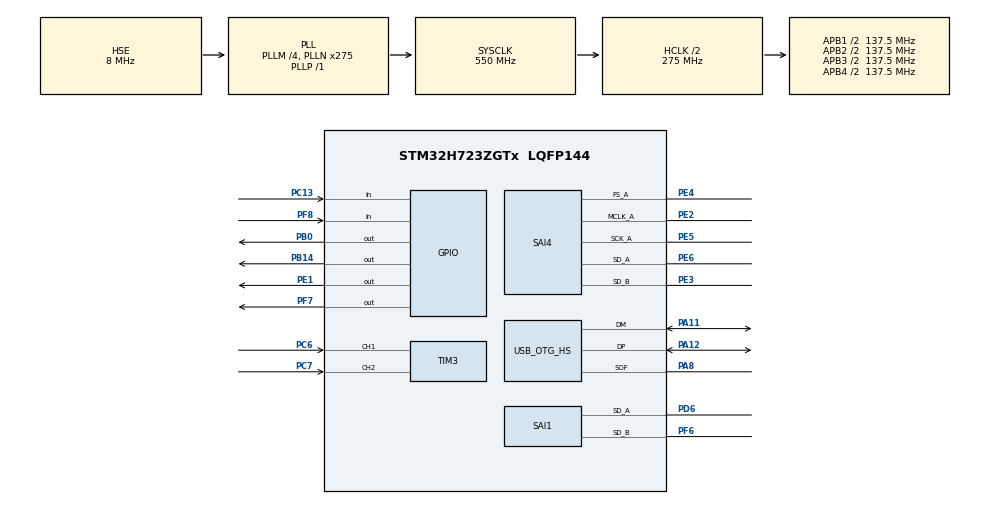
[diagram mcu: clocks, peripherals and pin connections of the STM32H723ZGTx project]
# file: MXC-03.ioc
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Bdma.Request0=SAI4_A
Bdma.Request1=SAI4_B
Bdma.RequestsNb=2
Bdma.SAI4_A.0.Direction=DMA_PERIPH_TO_MEMORY
Bdma.SAI4_A.0.EventEnable=DISABLE
Bdma.SAI4_A.0.Instance=BDMA_Channel0
Bdma.SAI4_A.0.MemDataAlignment=DMA_MDATAALIGN_WORD
Bdma.SAI4_A.0.MemInc=DMA_MINC_ENABLE
Bdma.SAI4_A.0.Mode=DMA_CIRCULAR
Bdma.SAI4_A.0.PeriphDataAlignment=DMA_PDATAALIGN_WORD
Bdma.SAI4_A.0.PeriphInc=DMA_PINC_DISABLE
Bdma.SAI4_A.0.Polarity=HAL_DMAMUX_REQ_GEN_RISING
Bdma.SAI4_A.0.Priority=DMA_PRIORITY_HIGH
Bdma.SAI4_A.0.RequestNumber=1
Bdma.SAI4_A.0.SignalID=NONE
Bdma.SAI4_A.0.SyncEnable=DISABLE
Bdma.SAI4_A.0.SyncPolarity=HAL_DMAMUX_SYNC_NO_EVENT
Bdma.SAI4_A.0.SyncRequestNumber=1
Bdma.SAI4_A.0.SyncSignalID=NONE
Bdma.SAI4_B.1.Direction=DMA_MEMORY_TO_PERIPH
Bdma.SAI4_B.1.EventEnable=DISABLE
Bdma.SAI4_B.1.Instance=BDMA_Channel1
Bdma.SAI4_B.1.MemDataAlignment=DMA_MDATAALIGN_WORD
Bdma.SAI4_B.1.MemInc=DMA_MINC_ENABLE
Bdma.SAI4_B.1.Mode=DMA_CIRCULAR
Bdma.SAI4_B.1.PeriphDataAlignment=DMA_PDATAALIGN_WORD
Bdma.SAI4_B.1.PeriphInc=DMA_PINC_DISABLE
Bdma.SAI4_B.1.Polarity=HAL_DMAMUX_REQ_GEN_RISING
Bdma.SAI4_B.1.Priority=DMA_PRIORITY_VERY_HIGH
Bdma.SAI4_B.1.RequestNumber=1
Bdma.SAI4_B.1.SignalID=NONE
Bdma.SAI4_B.1.SyncEnable=DISABLE
Bdma.SAI4_B.1.SyncPolarity=HAL_DMAMUX_SYNC_NO_EVENT
Bdma.SAI4_B.1.SyncRequestNumber=1
Bdma.SAI4_B.1.SyncSignalID=NONE
CORTEX_M7.AccessPermission_Spec=MPU_REGION_FULL_ACCESS
CORTEX_M7.BaseAddress_Spec=0x24000000
CORTEX_M7.DisableExec_Spec=MPU_INSTRUCTION_ACCESS_DISABLE
CORTEX_M7.IsShareable_Spec=MPU_ACCESS_SHAREABLE
CORTEX_M7.MPU_Control=MPU_PRIVILEGED_DEFAULT
CORTEX_M7.Size_Spec=MPU_REGION_SIZE_512KB
CORTEX_M7.SubRegionDisable_Spec=0x00
CORTEX_M7.TypeExtField_Spec=MPU_TEX_LEVEL1
CORTEX_M7.default_mode_Activation=0
Dma.Request0=SAI1_A
Dma.Request1=SAI1_B
Dma.SAI1_A.0.Direction=DMA_PERIPH_TO_MEMORY
Dma.SAI1_A.0.EventEnable=DISABLE
Dma.SAI1_A.0.FIFOMode=DMA_FIFOMODE_DISABLE
Dma.SAI1_A.0.Instance=DMA1_Stream0
Dma.SAI1_A.0.MemDataAlignment=DMA_MDATAALIGN_WORD
Dma.SAI1_A.0.MemInc=DMA_MINC_ENABLE
Dma.SAI1_A.0.Mode=DMA_CIRCULAR
Dma.SAI1_A.0.PeriphDataAlignment=DMA_PDATAALIGN_WORD
Dma.SAI1_A.0.PeriphInc=DMA_PINC_DISABLE
Dma.SAI1_A.0.Polarity=HAL_DMAMUX_REQ_GEN_RISING
Dma.SAI1_A.0.Priority=DMA_PRIORITY_VERY_HIGH
Dma.SAI1_A.0.RequestNumber=1
Dma.SAI1_A.0.SignalID=NONE
Dma.SAI1_A.0.SyncEnable=DISABLE
Dma.SAI1_A.0.SyncPolarity=HAL_DMAMUX_SYNC_NO_EVENT
Dma.SAI1_A.0.SyncRequestNumber=1
Dma.SAI1_A.0.SyncSignalID=NONE
Dma.SAI1_B.1.Direction=DMA_PERIPH_TO_MEMORY
Dma.SAI1_B.1.EventEnable=DISABLE
Dma.SAI1_B.1.FIFOMode=DMA_FIFOMODE_DISABLE
Dma.SAI1_B.1.Instance=DMA1_Stream1
Dma.SAI1_B.1.MemDataAlignment=DMA_MDATAALIGN_WORD
Dma.SAI1_B.1.MemInc=DMA_MINC_ENABLE
Dma.SAI1_B.1.Mode=DMA_CIRCULAR
Dma.SAI1_B.1.PeriphDataAlignment=DMA_PDATAALIGN_WORD
Dma.SAI1_B.1.PeriphInc=DMA_PINC_DISABLE
Dma.SAI1_B.1.Polarity=HAL_DMAMUX_REQ_GEN_RISING
Dma.SAI1_B.1.Priority=DMA_PRIORITY_VERY_HIGH
Dma.SAI1_B.1.RequestNumber=1
Dma.SAI1_B.1.SignalID=NONE
Dma.SAI1_B.1.SyncEnable=DISABLE
Dma.SAI1_B.1.SyncPolarity=HAL_DMAMUX_SYNC_NO_EVENT
Dma.SAI1_B.1.SyncRequestNumber=1
Dma.SAI1_B.1.SyncSignalID=NONE
Mcu.Family=STM32H7
Mcu.Name=STM32H723ZGTx
Mcu.Package=LQFP144
NUCLEO-H723ZG.BUTTON=1
NUCLEO-H723ZG.LD1=true
NUCLEO-H723ZG.LD2=true
NUCLEO-H723ZG.LD3=true
NUCLEO-H723ZG.VCP=true
NVIC.BDMA_Channel0_IRQn=true\:0\:0\:false\:false\:true\:false\:true\:true
NVIC.BDMA_Channel1_IRQn=true\:0\:0\:false\:false\:true\:false\:true\:true
NVIC.DMA1_Stream0_IRQn=true\:0\:0\:false\:false\:true\:false\:true\:true
NVIC.DMA1_Stream1_IRQn=true\:0\:0\:false\:false\:true\:false\:true\:true
NVIC.EXTI15_10_IRQn=true\:0\:0\:false\:false\:true\:false\:true\:true
NVIC.OTG_HS_EP1_IN_IRQn=true\:0\:0\:false\:false\:true\:true\:true\:true
NVIC.OTG_HS_EP1_OUT_IRQn=true\:0\:0\:false\:false\:true\:true\:true\:true
NVIC.OTG_HS_IRQn=true\:0\:0\:false\:false\:true\:true\:true\:true
NVIC.PriorityGroup=NVIC_PRIORITYGROUP_4
NVIC.SAI4_IRQn=true\:0\:0\:false\:false\:true\:true\:true\:true
PA11.Mode=Device_Only_FS
PA11.Signal=USB_OTG_HS_DM
PA12.Mode=Device_Only_FS
PA12.Signal=USB_OTG_HS_DP
PA13(JTMS/SWDIO).GPIO_Label=SWDIO
PA13(JTMS/SWDIO).Signal=DEBUG_JTMS-SWDIO
PA14(JTCK/SWCLK).GPIO_Label=SWCLK
PA14(JTCK/SWCLK).Signal=DEBUG_JTCK-SWCLK
PA8.Mode=Activate_SOF_FS
PA8.Signal=USB_OTG_HS_SOF
PB0.Signal=GPIO_Output
PB14.Signal=GPIO_Output
PC13.Signal=GPIO_Input
PC14-OSC32_IN.Signal=RCC_OSC32_IN
PC15-OSC32_OUT.Signal=RCC_OSC32_OUT
PC6.GPIO_PuPd=GPIO_PULLUP
PC6.Signal=S_TIM3_CH1
PC7.GPIO_PuPd=GPIO_PULLUP
PC7.Signal=S_TIM3_CH2
PD6.Mode=SAI_A_SyncSlave
PD6.Signal=SAI1_SD_A
PD8.Signal=USART3_TX
PD9.Signal=USART3_RX
PE1.Signal=GPIO_Output
PE2.Mode=SAI_A_MasterWithClock
PE2.Signal=SAI4_MCLK_A
PE3.Mode=SAI_B_SyncSlave
PE3.Signal=SAI4_SD_B
PE4.Mode=SAI_A_MasterWithClock
PE4.Signal=SAI4_FS_A
PE5.Mode=SAI_A_MasterWithClock
PE5.Signal=SAI4_SCK_A
PE6.Mode=SAI_A_MasterWithClock
PE6.Signal=SAI4_SD_A
PF6.Mode=SAI_B_SyncSlave
PF6.Signal=SAI1_SD_B
PF7.Signal=GPIO_Output
PF8.GPIO_PuPd=GPIO_PULLDOWN
PF8.Signal=GPIO_Input
PH0-OSC_IN.Mode=HSE-External-Clock-Source
PH0-OSC_IN.Signal=RCC_OSC_IN
ProjectManager.HeapSize=0x200
ProjectManager.StackSize=0x400
ProjectManager.TargetToolchain=STM32CubeIDE
RCC.ADCFreq_Value=76000000
RCC.APB1Freq_Value=137500000
RCC.APB2Freq_Value=137500000
RCC.APB3Freq_Value=137500000
RCC.APB4Freq_Value=137500000
RCC.CortexFreq_Value=550000000
RCC.D1PPRE=RCC_APB3_DIV2
RCC.D2PPRE1=RCC_APB1_DIV2
RCC.D2PPRE2=RCC_APB2_DIV2
RCC.D3PPRE=RCC_APB4_DIV2
RCC.DIVM1=4
RCC.DIVM2=1
RCC.DIVM3=5
RCC.DIVN1=275
RCC.DIVN2=19
RCC.DIVN3=192
RCC.DIVP1=1
RCC.DIVP3=25
RCC.DIVQ1=4
RCC.HCLKFreq_Value=275000000
RCC.HPRE=RCC_HCLK_DIV2
RCC.HSE_VALUE=8000000
RCC.PLLFRACN=0
RCC.PLLSourceVirtual=RCC_PLLSOURCE_HSE
RCC.SAI1CLockSelection=RCC_SAI1CLKSOURCE_PLL3
RCC.SAI4ACLockSelection=RCC_SAI4ACLKSOURCE_PLL3
RCC.SAI4BCLockSelection=RCC_SAI4BCLKSOURCE_PLL3
RCC.SYSCLKFreq_VALUE=550000000
RCC.SYSCLKSource=RCC_SYSCLKSOURCE_PLLCLK
RCC.USBCLockSelection=RCC_USBCLKSOURCE_HSI48
RCC.USBFreq_Value=48000000
SAI1.BasicDataSize-SAI_A_SyncSlave=SAI_PROTOCOL_DATASIZE_32BIT
SAI1.BasicDataSize-SAI_B_SyncSlave=SAI_PROTOCOL_DATASIZE_32BIT
SAI1.InitProtocol-SAI_A_SyncSlave=Enable
SAI1.InitProtocol-SAI_B_SyncSlave=Enable
SAI1.Instance-SAI_A_SyncSlave=SAI$Index_Block_A
SAI1.Instance-SAI_B_SyncSlave=SAI$Index_Block_B
SAI1.Synchro_A=SAI_SYNCHRONOUS_EXT_SAI4
SAI1.Synchro_B=SAI_SYNCHRONOUS_EXT_SAI4
SAI1.VirtualMode-SAI_A_SyncSlave=VM_SLAVE
SAI1.VirtualMode-SAI_B_SyncSlave=VM_SLAVE
SAI1.VirtualProtocol-SAI_A_BASIC=VM_BASIC_PROTOCOL
SAI1.VirtualProtocol-SAI_B_BASIC=VM_BASIC_PROTOCOL
SAI4.AudioFrequency-SAI_A_MasterWithClock=SAI_AUDIO_FREQUENCY_48K
SAI4.AudioMode-SAI_A_MasterWithClock=SAI_MODEMASTER_RX
SAI4.AudioMode-SAI_B_SyncSlave=SAI_MODESLAVE_TX
SAI4.BasicDataSize-SAI_A_MasterWithClock=SAI_PROTOCOL_DATASIZE_32BIT
SAI4.BasicDataSize-SAI_B_SyncSlave=SAI_PROTOCOL_DATASIZE_32BIT
SAI4.ErrorAudioFreq-SAI_A_MasterWithClock=0.0 %
SAI4.InitProtocol-SAI_A_MasterWithClock=Enable
SAI4.InitProtocol-SAI_B_SyncSlave=Enable
SAI4.Instance-SAI_A_MasterWithClock=SAI$Index_Block_A
SAI4.Instance-SAI_B_SyncSlave=SAI$Index_Block_B
SAI4.MckOutput-SAI_A_MasterWithClock=SAI_MCK_OUTPUT_ENABLE
SAI4.RealAudioFreq-SAI_A_MasterWithClock=48.0 KHz
SAI4.VirtualMode-SAI_A_MasterWithClock=VM_MASTER
SAI4.VirtualMode-SAI_B_SyncSlave=VM_SLAVE
SAI4.VirtualProtocol-SAI_A_BASIC=VM_BASIC_PROTOCOL
SAI4.VirtualProtocol-SAI_B_BASIC=VM_BASIC_PROTOCOL
SH.S_TIM3_CH1.0=TIM3_CH1,Encoder_Interface
SH.S_TIM3_CH2.0=TIM3_CH2,Encoder_Interface
TIM3.EncoderMode=TIM_ENCODERMODE_TI12
TIM3.IC1Filter=10
TIM3.IC2Filter=10
TIM3.TIM_MasterSlaveMode=TIM_MASTERSLAVEMODE_DISABLE
USB_DEVICE.CLASS_NAME_HS=AUDIO
USB_DEVICE.USBD_AUDIO_FREQ=48000
USB_DEVICE.VirtualMode=Audio
USB_DEVICE.VirtualModeHS=Audio_HS
USB_OTG_HS.VirtualMode-Device_Only_FS=Device_Only_FS
USB_OTG_HS.dma_enable-Device_Only_FS=DISABLE
VP_MEMORYMAP_VS_MEMORYMAP.Mode=CurAppReg
VP_NUCLEO-H723ZG_VS_BSP_COMMON.Mode=COMMON
VP_SAI1_VP_$IpInstance_SAIA_SAI_BASIC.Mode=SAI_A_BASIC
VP_SAI1_VP_$IpInstance_SAIB_SAI_BASIC.Mode=SAI_B_BASIC
VP_SAI4_VP_$IpInstance_SAIA_SAI_BASIC.Mode=SAI_A_BASIC
VP_SAI4_VP_$IpInstance_SAIB_SAI_BASIC.Mode=SAI_B_BASIC
VP_USB_DEVICE_VS_USB_DEVICE_AUDIO_HS.Mode=AUDIO_HS
board=NUCLEO-H723ZG

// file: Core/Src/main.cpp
/* USER CODE BEGIN Header */
/**
 ******************************************************************************
 * @file           : main.cpp
 * @brief          : Main program body
 ******************************************************************************
 * @attention
 *
 * Copyright (c) 2026 STMicroelectronics.
 * All rights reserved.
 *
 * This software is licensed under terms that can be found in the LICENSE file
 * in the root directory of this software component.
 * If no LICENSE file comes with this software, it is provided AS-IS.
 *
 ******************************************************************************
 */
/* USER CODE END Header */
#include "main.h"
#include "usb_device.h"

/* USER CODE BEGIN Includes */
#include "audio_system.hpp"
#include "effects_chain.hpp"
#include "ui_controller.hpp"
#include "ui_input_manager.hpp"

/* USER CODE END Includes */

/* USER CODE BEGIN PD */
namespace LinkSync {
constexpr uint16_t DummyPatternWord{0x96A5};
constexpr uint32_t StableBlocksRequired{8};
constexpr uint32_t LockCheckWords{32};
constexpr uint32_t FrontUsbFadeInFrames{AudioConfig::SampleRate / 50U};
}

/* USER CODE END PD */

COM_InitTypeDef BspCOMInit;

SAI_HandleTypeDef hsai_BlockA1;
SAI_HandleTypeDef hsai_BlockB1;
SAI_HandleTypeDef hsai_BlockA4;
SAI_HandleTypeDef hsai_BlockB4;
DMA_HandleTypeDef hdma_sai1_a;
DMA_HandleTypeDef hdma_sai1_b;
DMA_HandleTypeDef hdma_sai4_a;
DMA_HandleTypeDef hdma_sai4_b;

TIM_HandleTypeDef htim3;

/* USER CODE BEGIN PV */
extern UART_HandleTypeDef hcom_uart[];
volatile uint32_t gFrontUsbStableBlocks{0};
volatile uint32_t gFrontUsbLockAcquired{0};
volatile uint32_t gF411ReadyWasAsserted{0};
volatile uint32_t gFrontUsbFadeFrameIndex{0};
volatile uint32_t gFrontUsbFadeActive{0};
/* USER CODE END PV */

void SystemClock_Config(void);
void PeriphCommonClock_Config(void);
static void MPU_Config(void);
static void MX_GPIO_Init(void);
static void MX_DMA_Init(void);
static void MX_BDMA_Init(void);
static void MX_TIM3_Init(void);
static void MX_SAI1_Init(void);
static void MX_SAI4_Init(void);

/* USER CODE BEGIN 0 */
static void setH723Ready(bool active) {
  HAL_GPIO_WritePin(H723_READY_OUT_GPIO_Port, H723_READY_OUT_Pin,
                    active ? GPIO_PIN_SET : GPIO_PIN_RESET);
}

static bool isF411ReadyAsserted() {
  return HAL_GPIO_ReadPin(F411_READY_IN_GPIO_Port, F411_READY_IN_Pin) ==
         GPIO_PIN_SET;
}

static void clearFrontUsbLockState() {
  gFrontUsbStableBlocks = 0;
  gFrontUsbLockAcquired = 0;
  gFrontUsbFadeFrameIndex = 0;
  gFrontUsbFadeActive = 0;
  setH723Ready(false);
}

static void clearFrontUsbRxBuffer() {
  std::fill(frontUSBRxBuffer.begin(), frontUSBRxBuffer.end(), 0);
}

static bool isDummyPatternStable(uint32_t start) {
  const uint32_t maxWords = AudioConfig::DMABufferSize - start;
  const uint32_t wordsToCheck =
      (LinkSync::LockCheckWords < maxWords) ? LinkSync::LockCheckWords
                                            : maxWords;

  for (uint32_t i = 0; i < wordsToCheck; ++i) {
    const uint16_t sample =
        static_cast<uint16_t>(frontUSBRxBuffer[start + i] & 0xFFFF);
    if (sample != LinkSync::DummyPatternWord) {
      return false;
    }
  }

  return true;
}

static void analyzeFrontUsbBlock(uint32_t start) {
  if (!isF411ReadyAsserted()) {
    clearFrontUsbLockState();
    return;
  }

  const bool isStableBlock = isDummyPatternStable(start);

  if (isStableBlock) {
    if (gFrontUsbStableBlocks < LinkSync::StableBlocksRequired) {
      ++gFrontUsbStableBlocks;
    }
  } else {
    gFrontUsbStableBlocks = 0;
  }

  if (gFrontUsbStableBlocks >= LinkSync::StableBlocksRequired) {
    if (gFrontUsbLockAcquired == 0U) {
      gFrontUsbFadeFrameIndex = 0;
      gFrontUsbFadeActive = 1;
      gFrontUsbLockAcquired = 1;
      setH723Ready(true);
    }
  }
}

/* USER CODE END 0 */

int main(void)
{

  /* USER CODE BEGIN 1 */
  // Initialize effects chain
  FX::initializeChain();

  // Initialize UI
  UI::initialize();
  /* USER CODE END 1 */

  /* MPU Configuration--------------------------------------------------------*/
  MPU_Config();

  /* MCU Configuration--------------------------------------------------------*/

  /* Reset of all peripherals, Initializes the Flash interface and the Systick. */
  HAL_Init();

  /* Configure the system clock */
  SystemClock_Config();

  /* Configure the peripherals common clocks */
  PeriphCommonClock_Config();

  /* Initialize all configured peripherals */
  MX_GPIO_Init();
  MX_DMA_Init();
  MX_BDMA_Init();
  MX_TIM3_Init();
  MX_USB_DEVICE_Init();
  MX_SAI1_Init();
  MX_SAI4_Init();
  /* USER CODE BEGIN 2 */
  auto *pMonitorTx{reinterpret_cast<uint8_t *>(monitorTxBuffer.data())};
  auto *pADCRx{reinterpret_cast<uint8_t *>(ADCRxBuffer.data())};
  auto *pFrontUSBRx{reinterpret_cast<uint8_t *>(frontUSBRxBuffer.data())};
  auto *pRearUSBRx{reinterpret_cast<uint8_t *>(rearUSBRxBuffer.data())};

  setH723Ready(false);

  // Arm SAI1 RX first so H723 is ready to capture immediately when F411 starts.
  if (HAL_SAI_Receive_DMA(&hsai_BlockA1, pFrontUSBRx,
                          AudioConfig::DMABufferSize) != HAL_OK) {
    Error_Handler();
  }
  if (HAL_SAI_Receive_DMA(&hsai_BlockB1, pRearUSBRx,
                          AudioConfig::DMABufferSize) != HAL_OK) {
    Error_Handler();
  }

  // Start SAI4 path immediately so H723 can run standalone.
  if (HAL_SAI_Transmit_DMA(&hsai_BlockB4, pMonitorTx,
                           AudioConfig::DMABufferSize) != HAL_OK) {
    Error_Handler();
  }
  if (HAL_SAI_Receive_DMA(&hsai_BlockA4, pADCRx, AudioConfig::DMABufferSize) !=
      HAL_OK) {
    Error_Handler();
  }
  if (HAL_TIM_Encoder_Start(&htim3, TIM_CHANNEL_ALL) != HAL_OK) {
    Error_Handler();
  }

  UI::render();
  /* USER CODE END 2 */

  /* Initialize leds */
  BSP_LED_Init(LED_GREEN);
  BSP_LED_Init(LED_YELLOW);
  BSP_LED_Init(LED_RED);

  /* Initialize USER push-button, will be used to trigger an interrupt each time it's pressed.*/
  BSP_PB_Init(BUTTON_USER, BUTTON_MODE_EXTI);

  /* Initialize COM1 port (115200, 8 bits (7-bit data + 1 stop bit), no parity */
  BspCOMInit.BaudRate   = 115200;
  BspCOMInit.WordLength = COM_WORDLENGTH_8B;
  BspCOMInit.StopBits   = COM_STOPBITS_1;
  BspCOMInit.Parity     = COM_PARITY_NONE;
  BspCOMInit.HwFlowCtl  = COM_HWCONTROL_NONE;
  if (BSP_COM_Init(COM1, &BspCOMInit) != BSP_ERROR_NONE)
  {
    Error_Handler();
  }

  /* Infinite loop */
  /* USER CODE BEGIN WHILE */
  HAL_NVIC_SetPriority(USART3_IRQn, 0, 0);
  HAL_NVIC_EnableIRQ(USART3_IRQn);
  UiInput::initialize(htim3, hcom_uart[COM1]);
  gF411ReadyWasAsserted = isF411ReadyAsserted() ? 1U : 0U;

  while (1) {
    const bool isReadyNow = isF411ReadyAsserted();
    if (!isReadyNow) {
      if (gF411ReadyWasAsserted != 0U) {
        clearFrontUsbRxBuffer();
      }

      if (gFrontUsbLockAcquired != 0U || gFrontUsbStableBlocks != 0U) {
        clearFrontUsbLockState();
      }
    }
    gF411ReadyWasAsserted = isReadyNow ? 1U : 0U;

    UiInput::processLoop();
    /* USER CODE END WHILE */

  }
}

void SystemClock_Config(void)
{
  RCC_OscInitTypeDef RCC_OscInitStruct = {0};
  RCC_ClkInitTypeDef RCC_ClkInitStruct = {0};

  /** Supply configuration update enable
  */
  HAL_PWREx_ConfigSupply(PWR_LDO_SUPPLY);

  /** Configure the main internal regulator output voltage
  */
  __HAL_PWR_VOLTAGESCALING_CONFIG(PWR_REGULATOR_VOLTAGE_SCALE0);

  while(!__HAL_PWR_GET_FLAG(PWR_FLAG_VOSRDY)) {}

  /** Initializes the RCC Oscillators according to the specified parameters
  * in the RCC_OscInitTypeDef structure.
  */
  RCC_OscInitStruct.OscillatorType = RCC_OSCILLATORTYPE_HSI48|RCC_OSCILLATORTYPE_HSE;
  RCC_OscInitStruct.HSEState = RCC_HSE_BYPASS;
  RCC_OscInitStruct.HSI48State = RCC_HSI48_ON;
  RCC_OscInitStruct.PLL.PLLState = RCC_PLL_ON;
  RCC_OscInitStruct.PLL.PLLSource = RCC_PLLSOURCE_HSE;
  RCC_OscInitStruct.PLL.PLLM = 4;
  RCC_OscInitStruct.PLL.PLLN = 275;
  RCC_OscInitStruct.PLL.PLLP = 1;
  RCC_OscInitStruct.PLL.PLLQ = 4;
  RCC_OscInitStruct.PLL.PLLR = 2;
  RCC_OscInitStruct.PLL.PLLRGE = RCC_PLL1VCIRANGE_1;
  RCC_OscInitStruct.PLL.PLLVCOSEL = RCC_PLL1VCOWIDE;
  RCC_OscInitStruct.PLL.PLLFRACN = 0;
  if (HAL_RCC_OscConfig(&RCC_OscInitStruct) != HAL_OK)
  {
    Error_Handler();
  }

  /** Initializes the CPU, AHB and APB buses clocks
  */
  RCC_ClkInitStruct.ClockType = RCC_CLOCKTYPE_HCLK|RCC_CLOCKTYPE_SYSCLK
                              |RCC_CLOCKTYPE_PCLK1|RCC_CLOCKTYPE_PCLK2
                              |RCC_CLOCKTYPE_D3PCLK1|RCC_CLOCKTYPE_D1PCLK1;
  RCC_ClkInitStruct.SYSCLKSource = RCC_SYSCLKSOURCE_PLLCLK;
  RCC_ClkInitStruct.SYSCLKDivider = RCC_SYSCLK_DIV1;
  RCC_ClkInitStruct.AHBCLKDivider = RCC_HCLK_DIV2;
  RCC_ClkInitStruct.APB3CLKDivider = RCC_APB3_DIV2;
  RCC_ClkInitStruct.APB1CLKDivider = RCC_APB1_DIV2;
  RCC_ClkInitStruct.APB2CLKDivider = RCC_APB2_DIV2;
  RCC_ClkInitStruct.APB4CLKDivider = RCC_APB4_DIV2;

  if (HAL_RCC_ClockConfig(&RCC_ClkInitStruct, FLASH_LATENCY_3) != HAL_OK)
  {
    Error_Handler();
  }
}

void PeriphCommonClock_Config(void)
{
  RCC_PeriphCLKInitTypeDef PeriphClkInitStruct = {0};

  /** Initializes the peripherals clock
  */
  PeriphClkInitStruct.PeriphClockSelection = RCC_PERIPHCLK_SAI4A|RCC_PERIPHCLK_SAI4B
                              |RCC_PERIPHCLK_SAI1;
  PeriphClkInitStruct.PLL3.PLL3M = 5;
  PeriphClkInitStruct.PLL3.PLL3N = 192;
  PeriphClkInitStruct.PLL3.PLL3P = 25;
  PeriphClkInitStruct.PLL3.PLL3Q = 2;
  PeriphClkInitStruct.PLL3.PLL3R = 2;
  PeriphClkInitStruct.PLL3.PLL3RGE = RCC_PLL3VCIRANGE_0;
  PeriphClkInitStruct.PLL3.PLL3VCOSEL = RCC_PLL3VCOMEDIUM;
  PeriphClkInitStruct.PLL3.PLL3FRACN = 0;
  PeriphClkInitStruct.Sai1ClockSelection = RCC_SAI1CLKSOURCE_PLL3;
  PeriphClkInitStruct.Sai4AClockSelection = RCC_SAI4ACLKSOURCE_PLL3;
  PeriphClkInitStruct.Sai4BClockSelection = RCC_SAI4BCLKSOURCE_PLL3;
  if (HAL_RCCEx_PeriphCLKConfig(&PeriphClkInitStruct) != HAL_OK)
  {
    Error_Handler();
  }
}

static void MX_SAI1_Init(void)
{

  hsai_BlockA1.Instance = SAI1_Block_A;
  hsai_BlockA1.Init.AudioMode = SAI_MODESLAVE_RX;
  hsai_BlockA1.Init.Synchro = SAI_SYNCHRONOUS_EXT_SAI4;
  hsai_BlockA1.Init.OutputDrive = SAI_OUTPUTDRIVE_DISABLE;
  hsai_BlockA1.Init.FIFOThreshold = SAI_FIFOTHRESHOLD_EMPTY;
  hsai_BlockA1.Init.MonoStereoMode = SAI_STEREOMODE;
  hsai_BlockA1.Init.CompandingMode = SAI_NOCOMPANDING;
  hsai_BlockA1.Init.TriState = SAI_OUTPUT_NOTRELEASED;
  if (HAL_SAI_InitProtocol(&hsai_BlockA1, SAI_I2S_STANDARD,
                           SAI_PROTOCOL_DATASIZE_16BITEXTENDED, 2) != HAL_OK) {
    Error_Handler();
  }
  hsai_BlockB1.Instance = SAI1_Block_B;
  hsai_BlockB1.Init.AudioMode = SAI_MODESLAVE_RX;
  hsai_BlockB1.Init.Synchro = SAI_SYNCHRONOUS_EXT_SAI4;
  hsai_BlockB1.Init.OutputDrive = SAI_OUTPUTDRIVE_DISABLE;
  hsai_BlockB1.Init.FIFOThreshold = SAI_FIFOTHRESHOLD_EMPTY;
  hsai_BlockB1.Init.MonoStereoMode = SAI_STEREOMODE;
  hsai_BlockB1.Init.CompandingMode = SAI_NOCOMPANDING;
  hsai_BlockB1.Init.TriState = SAI_OUTPUT_NOTRELEASED;
  if (HAL_SAI_InitProtocol(&hsai_BlockB1, SAI_I2S_STANDARD,
                           SAI_PROTOCOL_DATASIZE_16BITEXTENDED, 2) != HAL_OK) {
    Error_Handler();
  }

}

static void MX_SAI4_Init(void)
{

  hsai_BlockA4.Instance = SAI4_Block_A;
  hsai_BlockA4.Init.AudioMode = SAI_MODEMASTER_RX;
  hsai_BlockA4.Init.Synchro = SAI_ASYNCHRONOUS;
  hsai_BlockA4.Init.OutputDrive = SAI_OUTPUTDRIVE_DISABLE;
  hsai_BlockA4.Init.NoDivider = SAI_MASTERDIVIDER_ENABLE;
  hsai_BlockA4.Init.FIFOThreshold = SAI_FIFOTHRESHOLD_EMPTY;
  hsai_BlockA4.Init.AudioFrequency = SAI_AUDIO_FREQUENCY_48K;
  hsai_BlockA4.Init.SynchroExt = SAI_SYNCEXT_OUTBLOCKA_ENABLE;
  hsai_BlockA4.Init.MonoStereoMode = SAI_STEREOMODE;
  hsai_BlockA4.Init.CompandingMode = SAI_NOCOMPANDING;
  if (HAL_SAI_InitProtocol(&hsai_BlockA4, SAI_I2S_STANDARD,
                           SAI_PROTOCOL_DATASIZE_32BIT, 2) != HAL_OK) {
    Error_Handler();
  }
  hsai_BlockB4.Instance = SAI4_Block_B;
  hsai_BlockB4.Init.AudioMode = SAI_MODESLAVE_TX;
  hsai_BlockB4.Init.Synchro = SAI_SYNCHRONOUS;
  hsai_BlockB4.Init.OutputDrive = SAI_OUTPUTDRIVE_DISABLE;
  hsai_BlockB4.Init.FIFOThreshold = SAI_FIFOTHRESHOLD_EMPTY;
  hsai_BlockB4.Init.SynchroExt = SAI_SYNCEXT_OUTBLOCKA_ENABLE;
  hsai_BlockB4.Init.MonoStereoMode = SAI_STEREOMODE;
  hsai_BlockB4.Init.CompandingMode = SAI_NOCOMPANDING;
  hsai_BlockB4.Init.TriState = SAI_OUTPUT_NOTRELEASED;
  if (HAL_SAI_InitProtocol(&hsai_BlockB4, SAI_I2S_STANDARD,
                           SAI_PROTOCOL_DATASIZE_32BIT, 2) != HAL_OK) {
    Error_Handler();
  }

}

static void MX_TIM3_Init(void)
{

  TIM_Encoder_InitTypeDef sConfig = {0};
  TIM_MasterConfigTypeDef sMasterConfig = {0};

  htim3.Instance = TIM3;
  htim3.Init.Prescaler = 0;
  htim3.Init.CounterMode = TIM_COUNTERMODE_UP;
  htim3.Init.Period = 65535;
  htim3.Init.ClockDivision = TIM_CLOCKDIVISION_DIV1;
  htim3.Init.AutoReloadPreload = TIM_AUTORELOAD_PRELOAD_DISABLE;
  sConfig.EncoderMode = TIM_ENCODERMODE_TI12;
  sConfig.IC1Polarity = TIM_ICPOLARITY_RISING;
  sConfig.IC1Selection = TIM_ICSELECTION_DIRECTTI;
  sConfig.IC1Prescaler = TIM_ICPSC_DIV1;
  sConfig.IC1Filter = 10;
  sConfig.IC2Polarity = TIM_ICPOLARITY_RISING;
  sConfig.IC2Selection = TIM_ICSELECTION_DIRECTTI;
  sConfig.IC2Prescaler = TIM_ICPSC_DIV1;
  sConfig.IC2Filter = 10;
  if (HAL_TIM_Encoder_Init(&htim3, &sConfig) != HAL_OK)
  {
    Error_Handler();
  }
  sMasterConfig.MasterOutputTrigger = TIM_TRGO_RESET;
  sMasterConfig.MasterSlaveMode = TIM_MASTERSLAVEMODE_DISABLE;
  if (HAL_TIMEx_MasterConfigSynchronization(&htim3, &sMasterConfig) != HAL_OK)
  {
    Error_Handler();
  }

}

static void MX_BDMA_Init(void)
{

  /* DMA controller clock enable */
  __HAL_RCC_BDMA_CLK_ENABLE();

  /* DMA interrupt init */
  /* BDMA_Channel0_IRQn interrupt configuration */
  HAL_NVIC_SetPriority(BDMA_Channel0_IRQn, 0, 0);
  HAL_NVIC_EnableIRQ(BDMA_Channel0_IRQn);
  /* BDMA_Channel1_IRQn interrupt configuration */
  HAL_NVIC_SetPriority(BDMA_Channel1_IRQn, 0, 0);
  HAL_NVIC_EnableIRQ(BDMA_Channel1_IRQn);

}

static void MX_DMA_Init(void)
{

  /* DMA controller clock enable */
  __HAL_RCC_DMA1_CLK_ENABLE();

  /* DMA interrupt init */
  /* DMA1_Stream0_IRQn interrupt configuration */
  HAL_NVIC_SetPriority(DMA1_Stream0_IRQn, 0, 0);
  HAL_NVIC_EnableIRQ(DMA1_Stream0_IRQn);
  /* DMA1_Stream1_IRQn interrupt configuration */
  HAL_NVIC_SetPriority(DMA1_Stream1_IRQn, 0, 0);
  HAL_NVIC_EnableIRQ(DMA1_Stream1_IRQn);

}

static void MX_GPIO_Init(void)
{
  GPIO_InitTypeDef GPIO_InitStruct = {0};

  /* GPIO Ports Clock Enable */
  __HAL_RCC_GPIOE_CLK_ENABLE();
  __HAL_RCC_GPIOC_CLK_ENABLE();
  __HAL_RCC_GPIOF_CLK_ENABLE();
  __HAL_RCC_GPIOH_CLK_ENABLE();
  __HAL_RCC_GPIOA_CLK_ENABLE();
  __HAL_RCC_GPIOD_CLK_ENABLE();

  /*Configure GPIO pin Output Level */
  HAL_GPIO_WritePin(GPIOF, GPIO_PIN_7, GPIO_PIN_RESET);

  /*Configure GPIO pin : PF7 */
  GPIO_InitStruct.Pin = GPIO_PIN_7;
  GPIO_InitStruct.Mode = GPIO_MODE_OUTPUT_PP;
  GPIO_InitStruct.Pull = GPIO_NOPULL;
  GPIO_InitStruct.Speed = GPIO_SPEED_FREQ_LOW;
  HAL_GPIO_Init(GPIOF, &GPIO_InitStruct);

  /*Configure GPIO pin : PF8 */
  GPIO_InitStruct.Pin = GPIO_PIN_8;
  GPIO_InitStruct.Mode = GPIO_MODE_INPUT;
  GPIO_InitStruct.Pull = GPIO_PULLDOWN;
  HAL_GPIO_Init(GPIOF, &GPIO_InitStruct);

}

/* USER CODE BEGIN 4 */

// --- Hardware / HAL Callbacks (C Linkage) ---
// These functions must use C linkage to be visible to the STM32 HAL drivers.
extern "C" {
void mainUSBRxBufferReset() { mainUSBRxBuffer.reset(); }
void mainUSBRxBufferWrite(int16_t *data, uint32_t length) {
  mainUSBRxBuffer.write(data, length);
}
int32_t mainUSBRxBufferGetAvailableFrames(void) {
  return (int32_t)mainUSBRxBuffer.getAvailableFrames();
}

static void processADCMonoLeftChannelInput(uint32_t start,
                                                  uint32_t numFrames) {
  for (uint32_t i = start, j = 0; j < numFrames; ++j, i += 2) {
    float32_t leftSample{static_cast<float32_t>(ADCRxBuffer[i]) *
                         Audio::Convert::Int32ToFloat};
    Mixer::chLeft[j] = leftSample * Mixer::param.gainADCLeft;
    Mixer::chRight[j] = leftSample * Mixer::param.gainADCLeft;
  }
}

static void processADCMonoRightChannelInput(uint32_t start,
                                                   uint32_t numFrames) {
  for (uint32_t i = start, j = 0; j < numFrames; ++j, i += 2) {
    float32_t rightSample{static_cast<float32_t>(ADCRxBuffer[i + 1]) *
                          Audio::Convert::Int32ToFloat};
    Mixer::chLeft[j] += rightSample * Mixer::param.gainADCRight;
    Mixer::chRight[j] += rightSample * Mixer::param.gainADCRight;
  }
}

[[maybe_unused]] static void processADCStereoInput(uint32_t start,
                                                   uint32_t numFrames) {
  for (uint32_t i = start, j = 0; j < numFrames; ++j, i += 2) {
    float32_t leftSample{static_cast<float32_t>(ADCRxBuffer[i]) *
                         Audio::Convert::Int32ToFloat};
    float32_t rightSample{static_cast<float32_t>(ADCRxBuffer[i + 1]) *
                          Audio::Convert::Int32ToFloat};

    Mixer::chLeft[j] = leftSample * Mixer::param.gainADCLeft;
    Mixer::chRight[j] = rightSample * Mixer::param.gainADCRight;
  }
}

static void processFX(uint32_t numFrames) {
  for (uint32_t i = 0; i < FX::MaxChainCount; ++i) {
    if (FX::effectChain[i] != nullptr && !FX::isBypassed[i]) {
      FX::effectChain[i]->process(Mixer::chLeft.data(), Mixer::chRight.data(),
                                  numFrames);
    }
  }
}

static void mixMainUSBAudio(uint32_t numFrames, uint32_t numSamples) {
  static std::array<int16_t, AudioConfig::FramesPerBlock * 2> usbTemp;

  std::fill(usbTemp.begin(), usbTemp.end(), 0);
  mainUSBRxBuffer.read(usbTemp.data(), numSamples);

  for (uint32_t j = 0; j < numFrames; ++j) {
    float32_t usbLeft =
        static_cast<float32_t>(usbTemp[j * 2]) * Audio::Convert::Int16ToFloat;
    float32_t usbRight = static_cast<float32_t>(usbTemp[j * 2 + 1]) *
                         Audio::Convert::Int16ToFloat;
    Mixer::chLeft[j] += usbLeft * Mixer::param.gainMainUSB;
    Mixer::chRight[j] += usbRight * Mixer::param.gainMainUSB;
  }
}

static void mixFrontUSBAudio(uint32_t start, uint32_t numFrames) {
  if (gFrontUsbLockAcquired == 0U) {
    return;
  }

  for (uint32_t i = start, j = 0; j < numFrames; ++j, i += 2) {
    int16_t usbLeftRaw = static_cast<int16_t>(frontUSBRxBuffer[i] & 0xFFFF);
    int16_t usbRightRaw =
        static_cast<int16_t>(frontUSBRxBuffer[i + 1] & 0xFFFF);
    float32_t usbLeft =
        static_cast<float32_t>(usbLeftRaw) * Audio::Convert::Int16ToFloat;
    float32_t usbRight =
        static_cast<float32_t>(usbRightRaw) * Audio::Convert::Int16ToFloat;

    float32_t fadeGain{1.0f};
    if (gFrontUsbFadeActive != 0U) {
      if (gFrontUsbFadeFrameIndex < LinkSync::FrontUsbFadeInFrames) {
        fadeGain = static_cast<float32_t>(gFrontUsbFadeFrameIndex) /
                   static_cast<float32_t>(LinkSync::FrontUsbFadeInFrames);
        ++gFrontUsbFadeFrameIndex;
      } else {
        gFrontUsbFadeActive = 0U;
      }
    }

    Mixer::chLeft[j] += usbLeft * Mixer::param.gainFrontUSB * fadeGain;
    Mixer::chRight[j] += usbRight * Mixer::param.gainFrontUSB * fadeGain;
  }
}

static void mixRearUSBAudio(uint32_t start, uint32_t numFrames) {
  for (uint32_t i = start, j = 0; j < numFrames; ++j, i += 2) {
    int16_t usbLeftRaw = static_cast<int16_t>(rearUSBRxBuffer[i] & 0xFFFF);
    int16_t usbRightRaw =
        static_cast<int16_t>(rearUSBRxBuffer[i + 1] & 0xFFFF);
    float32_t usbLeft =
        static_cast<float32_t>(usbLeftRaw) * Audio::Convert::Int16ToFloat;
    float32_t usbRight =
        static_cast<float32_t>(usbRightRaw) * Audio::Convert::Int16ToFloat;

    Mixer::chLeft[j] += usbLeft * Mixer::param.gainRearUSB;
    Mixer::chRight[j] += usbRight * Mixer::param.gainRearUSB;
  }
}

static void processOutput(uint32_t start, uint32_t numFrames) {
  for (uint32_t i = start, j = 0; j < numFrames; ++j, i += 2) {
    monitorTxBuffer[i] =
        __SSAT(static_cast<int32_t>(Mixer::chLeft[j] * Mixer::param.gainMaster *
                                    Audio::Convert::FloatToInt32),
               32);
    monitorTxBuffer[i + 1] = __SSAT(
        static_cast<int32_t>(Mixer::chRight[j] * Mixer::param.gainMaster *
                             Audio::Convert::FloatToInt32),
        32);
  }
}

static void handleAudioBlock(uint32_t start, uint32_t end) {
  const uint32_t numSamples{end - start};
  const uint32_t numFrames{numSamples / 2};

  processADCMonoLeftChannelInput(start, numFrames);
  processADCMonoRightChannelInput(start, numFrames);
  processFX(numFrames);
  mixMainUSBAudio(numFrames, numSamples);
  mixFrontUSBAudio(start, numFrames);
  mixRearUSBAudio(start, numFrames);
  processOutput(start, numFrames);
}

void HAL_SAI_RxHalfCpltCallback(SAI_HandleTypeDef *hsai) {
  if (hsai == &hsai_BlockA1) {
    analyzeFrontUsbBlock(0);
  }
  if (hsai == &hsai_BlockA4) {
    handleAudioBlock(0, AudioConfig::DMABufferSize / 2);
  }
}

void HAL_SAI_RxCpltCallback(SAI_HandleTypeDef *hsai) {
  if (hsai == &hsai_BlockA1) {
    analyzeFrontUsbBlock(AudioConfig::DMABufferSize / 2);
  }
  if (hsai == &hsai_BlockA4) {
    handleAudioBlock(AudioConfig::DMABufferSize / 2,
                     AudioConfig::DMABufferSize);
  }
}

void HAL_UART_RxCpltCallback(UART_HandleTypeDef *huart) {
  UiInput::onUartRxComplete(huart);
}

void BSP_PB_Callback(Button_TypeDef Button) {
  UiInput::onUserButtonInterrupt(Button);
}
}
/* USER CODE END 4 */

 /* MPU Configuration */

void MPU_Config(void)
{

  /* Disables the MPU */
  HAL_MPU_Disable();
  /* Enables the MPU */
  HAL_MPU_Enable(MPU_PRIVILEGED_DEFAULT);

}

void Error_Handler(void)
{
  __disable_irq();
  while (1) {
  }
}

#ifdef  USE_FULL_ASSERT
/**
  * @brief  Reports the name of the source file and the source line number
  *         where the assert_param error has occurred.
  * @param  file: pointer to the source file name
  * @param  line: assert_param error line source number
  * @retval None
  */
void assert_failed(uint8_t *file, uint32_t line)
{
  /* USER CODE BEGIN 6 */
  /* User can add his own implementation to report the file name and line
     number, ex: printf("Wrong parameters value: file %s on line %d\r\n", file,
     line) */
  /* USER CODE END 6 */
}
#endif /* USE_FULL_ASSERT */
